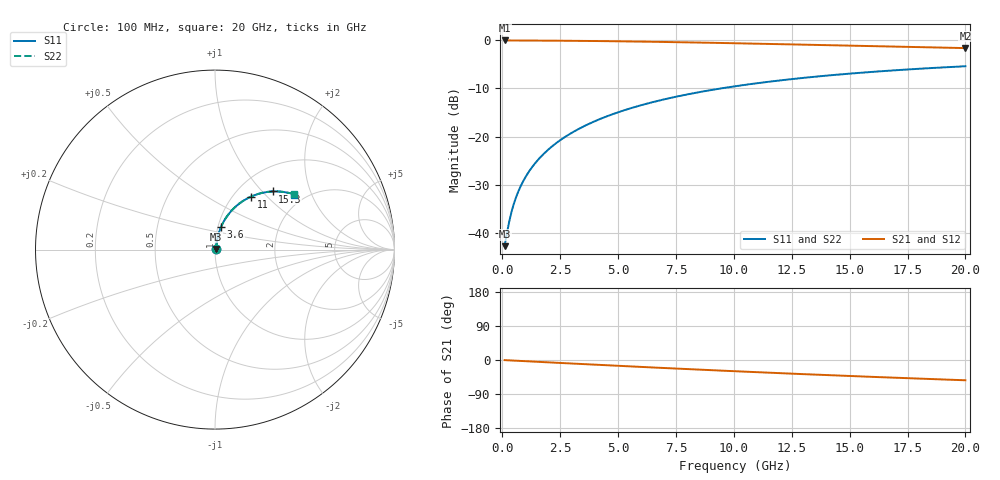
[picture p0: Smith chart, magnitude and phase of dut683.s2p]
! Touchstone file exported from HFSS 2026.1.0
!  File:  C:/ffzhzh/LocalFiles/Ansys_Project_Files/temp_train_BSMRDL_683_1783017561_51716.aedt
!  Generated:  02:40:45 AM Jul  3, 2026
!  Design:  BSMRDL
!  Project:  temp_train_BSMRDL_683_1783017561_51716
! Variables:
!  h_bsmrdl = 3.27um
!  h_ox = 20um
!  h_rdl = 5um
!  h_sub = 80um
!  h_tmrdl = 5um
!  h_tsv = 80um
!  h_via = 3um
!  l_bsmrdl = 775.97um
!  l_sub = 1175.97um
!  l_tmrdl = 200um
!  m_sub = 200um
!  pitch = 43.98um
!  r_tsv = 6um
!  s_tmrdl = 10um
!  w_bsmrdl = 13.56um
!  w_sub = 500um
!  w_tmrdl = 12um
!  x_tsv_center1 = 206um
!  x_tsv_center2 = 995.53um
!  x_tsv_center3 = 1207.53um
!  x_tsv_center4 = 1997.06um
!  x_tsv_center5 = 2209.06um
!  x_tsv_center6 = 2998.59um
# GHz S MA R 50.000000
! Terminal data exported
! Port[1] = BSM_RDL1_1_T1
! Port[2] = BSM_RDL1_1_T2
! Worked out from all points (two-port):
!   200 points, 100 MHz to 20 GHz, reference 50 ohm
!   highest |S21| = -0.05 dB at 100 MHz (marker M1); lowest = -1.6 dB at 20 GHz (marker M2)
!   |S21| within 3 dB of the highest: start of sweep to end of sweep
!   lowest |S11| = -42.7 dB at 100 MHz (marker M3), VSWR 1.01, Z = 50.6 + j0.391 ohm
!   |S11| at or under -10 dB: start of sweep to 9.438 GHz
!   |S22| runs from -42.7 to -5.4 dB; largest |S21 - S12| = 2.1e-15
!   S11 on the Smith chart (normalised r, x): 100 MHz: 1.01, +0.01; 3.6 GHz: 1.03, +0.27; 11 GHz: 1.20, +0.82; 15.3 GHz: 1.40, +1.15; 20 GHz: 1.75, +1.51
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0.1  0.007338 31.7  0.9938 -0.3  0.9938 -0.3  0.007338 31.7
! Gamma 0 0 0 0
! Port Impedance 50 0 50 0
0.3  0.01325 59.9  0.9935 -1.0  0.9935 -1.0  0.01325 59.9
0.4  0.0167 65.5  0.9933 -1.3  0.9933 -1.3  0.0167 65.5
0.5  0.02023 69.0  0.9931 -1.6  0.9931 -1.6  0.02023 69.0
0.6  0.02378 71.3  0.9929 -1.9  0.9929 -1.9  0.02378 71.3
0.8  0.03092 74.2  0.9925 -2.5  0.9925 -2.5  0.03092 74.2
1.1  0.04167 76.4  0.9919 -3.5  0.9919 -3.5  0.04167 76.4
1.3  0.04885 77.2  0.9914 -4.1  0.9914 -4.1  0.04885 77.2
1.6  0.05965 77.7  0.9907 -5.0  0.9907 -5.0  0.05965 77.7
2.1  0.07763 77.7  0.9892 -6.5  0.9892 -6.5  0.07762 77.7
2.7  0.09909 76.9  0.987 -8.4  0.987 -8.4  0.09909 76.9
3.5  0.1274 75.3  0.9834 -10.8  0.9834 -10.8  0.1274 75.3
3.6  0.1309 75.1  0.9828 -11.1  0.9828 -11.1  0.1309 75.1
5  0.179 71.6  0.9744 -15.3  0.9744 -15.3  0.179 71.6
6.8  0.2377 66.8  0.9606 -20.6  0.9606 -20.6  0.2377 66.8
8.3  0.2835 62.7  0.9472 -24.9  0.9472 -24.9  0.2835 62.8
10.1  0.3344 58.0  0.9295 -29.8  0.9295 -29.8  0.3344 58.0
11  0.3582 55.7  0.9203 -32.2  0.9203 -32.2  0.3582 55.7
13.4  0.4161 49.7  0.8949 -38.3  0.8949 -38.3  0.4161 49.8
15.3  0.4564 45.2  0.8748 -42.9  0.8748 -42.9  0.4564 45.3
16.7  0.4832 42.0  0.8603 -46.2  0.8603 -46.2  0.4832 42.1
20  0.537 34.9  0.8281 -53.5  0.8281 -53.5  0.5369 35.0
